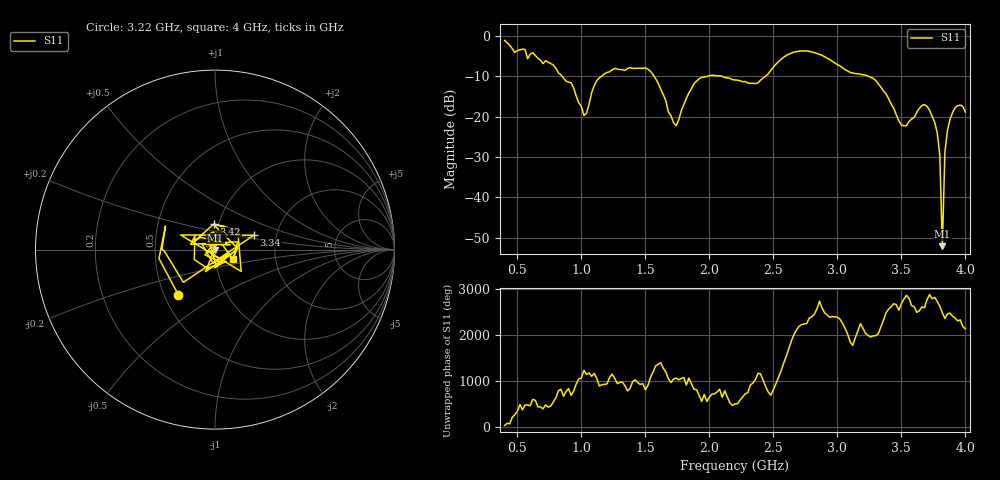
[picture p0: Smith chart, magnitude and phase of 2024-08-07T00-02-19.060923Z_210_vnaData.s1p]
!Created with skrf (http://scikit-rf.org).
# Hz S RI R 50.0
!freq ReS11 ImS11
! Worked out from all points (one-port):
!   181 points, 400 MHz to 4 GHz, reference 50 ohm
!   lowest |S11| = -52.0 dB at 3.82 GHz (marker M1), VSWR 1.01, Z = 50.2 - j0.165 ohm
!   |S11| at or under -10 dB: 1.567 GHz to 1.991 GHz (423.9 MHz wide, 23.8 % of centre); 2.091 GHz to 2.44 GHz (348.6 MHz wide, 15.4 % of centre); 3.239 GHz to end of sweep (the widest 3 of 4)
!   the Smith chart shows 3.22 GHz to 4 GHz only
!   S11 on the Smith chart (normalised r, x): 3.22 GHz: 0.59, -0.33; 3.34 GHz: 1.53, +0.26; 3.42 GHz: 0.95, +0.28; 4 GHz: 1.22, -0.13
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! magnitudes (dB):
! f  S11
! 400 MHz  -1.2
! 860 MHz  -10.5
! 920 MHz  -11.7
! 1.02 GHz  -19.7
! 1.12 GHz  -11.1
! 1.3 GHz  -8.4
! 1.54 GHz  -8.8
! 1.72 GHz  -21.5
! 1.76 GHz  -20.9
! 1.92 GHz  -10.7
! 2.2 GHz  -11.0
! 2.38 GHz  -11.7
! 2.66 GHz  -4.1
! 2.86 GHz  -4.6
! 3.1 GHz  -9.1
! 3.22 GHz  -9.8
! 3.34 GHz  -12.7
! 3.42 GHz  -16.9
! 3.5 GHz  -22.1
! 3.56 GHz  -21.2
! 3.68 GHz  -17.0
! 3.76 GHz  -21.4
! 3.8 GHz  -29.5
! 3.82 GHz  -52.0
! 3.84 GHz  -28.8
! 3.86 GHz  -23.4
! 3.92 GHz  -17.9
! 4 GHz  -18.9
